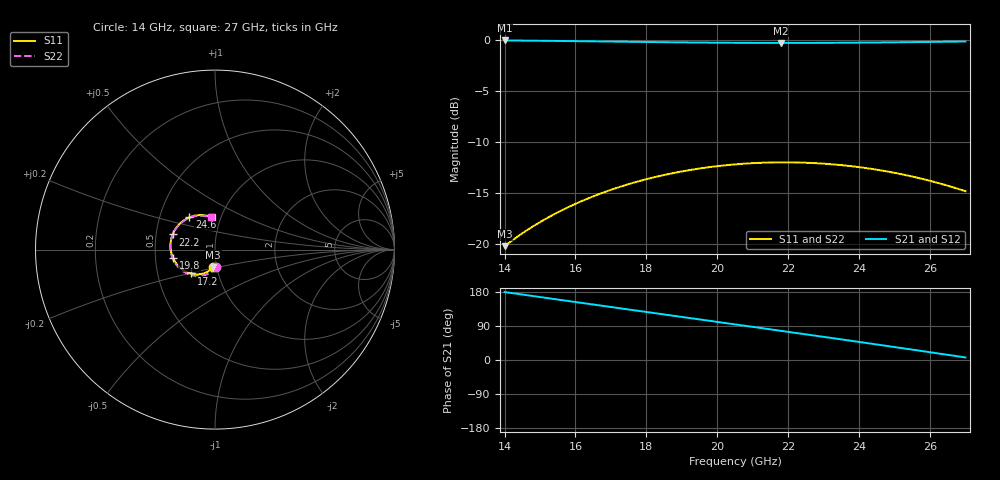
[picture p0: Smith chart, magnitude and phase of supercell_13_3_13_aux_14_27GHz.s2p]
! Touchstone file exported from HFSS 2026.1.0
!  File:  C:/Users/urbaneja/Ansys/13-3-3_super_cell.aedt
!  Generated:  09:22:44 AM Aug 12, 2026
!  Design:  HFSSDesign_Supercell_13_3_13
!  Project:  13-3-3_super_cell
!  Setup:  Setup1
!  Solution:  Sweep_aux_14_27GHz
! Variables:
!  stub_length = 12um
# GHz S MA R 50.000000
! Terminal data exported
! Port[1] = Port1
! Port[2] = Port2
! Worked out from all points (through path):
!   66 points, 14 GHz to 27 GHz, reference 50 ohm
!   highest |S21| = -0.04 dB at 14 GHz (marker M1); lowest = -0.3 dB at 21.8 GHz (marker M2)
!   group delay of S21, straight-line fit = 36.7 ps
!   lowest |S11| = -20.2 dB at 14 GHz (marker M3), VSWR 1.22, Z = 48.1 - j9.41 ohm
!   |S11| at or under -10 dB: start of sweep to end of sweep
!   |S22| runs from -20.2 to -12.0 dB; largest |S21 - S12| = 0.00016
!   S11 on the Smith chart (normalised r, x): 14 GHz: 0.96, -0.19; 17.2 GHz: 0.74, -0.20; 19.8 GHz: 0.62, -0.06; 22.2 GHz: 0.61, +0.11; 24.6 GHz: 0.71, +0.27; 27 GHz: 0.91, +0.34
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14  0.09729 -95.6  0.9952 179.3  0.9953 179.3  0.09729 -85.7
! Gamma 0 12516.9952816227 0 12034.8092072632
! Port Impedance 50 0 50 0
14.4  0.1095 -100.4  0.994 174.1  0.9939 174.1  0.1095 -91.5
15  0.1277 -107.6  0.9918 166.1  0.9918 166.1  0.1277 -100.1
15.6  0.1455 -115.0  0.9894 158.2  0.9894 158.2  0.1455 -108.5
16.2  0.1626 -122.5  0.9867 150.4  0.9867 150.4  0.1626 -116.8
17.2  0.1889 -135.2  0.982 137.2  0.982 137.2  0.1889 -130.4
17.8  0.203 -142.9  0.9792 129.3  0.9792 129.3  0.203 -138.5
18.4  0.2156 -150.5  0.9765 121.5  0.9765 121.5  0.2156 -146.5
19.2  0.2297 -160.8  0.9733 111.0  0.9733 111.0  0.2297 -157.2
19.8  0.238 -168.5  0.9713 103.2  0.9713 103.2  0.238 -165.2
20.6  0.246 -178.9  0.9693 92.7  0.9693 92.7  0.246 -175.8
21.2  0.2495 173.3  0.9684 84.8  0.9684 84.8  0.2495 176.3
21.8  0.2509 165.5  0.968 76.9  0.968 76.9  0.2509 168.3
22.2  0.2506 160.3  0.9681 71.6  0.9681 71.6  0.2506 163.0
22.8  0.2484 152.4  0.9687 63.7  0.9687 63.7  0.2484 155.0
23.6  0.2422 141.9  0.9702 53.1  0.9702 53.1  0.2422 144.3
24.6  0.2294 128.5  0.9733 39.6  0.9733 39.6  0.2294 130.8
25  0.2229 123.1  0.9748 34.2  0.9748 34.2  0.2229 125.3
25.6  0.2118 114.9  0.9773 26.0  0.9773 26.0  0.2118 117.1
26  0.2037 109.4  0.979 20.5  0.9791 20.5  0.2037 111.7
26.6  0.1904 101.2  0.9818 12.3  0.9816 12.3  0.1904 103.3
27  0.1811 95.6  0.9834 6.7  0.9835 6.7  0.1811 97.8
